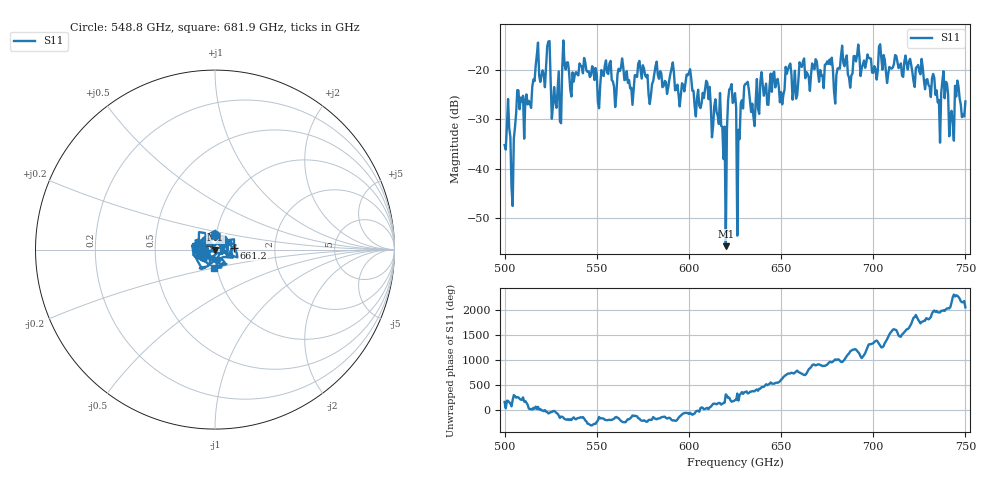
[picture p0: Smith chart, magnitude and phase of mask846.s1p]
!Created with skrf (http://scikit-rf.org).
# GHz S MA R 50.0
!freq magS11 angS11
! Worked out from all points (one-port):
!   401 points, 500 GHz to 750 GHz, reference 50 ohm
!   lowest |S11| = -55.8 dB at 620 GHz (marker M1), VSWR 1.00, Z = 50.1 - j0.115 ohm
!   |S11| at or under -10 dB: start of sweep to end of sweep
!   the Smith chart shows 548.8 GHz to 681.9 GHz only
!   S11 on the Smith chart (normalised r, x): 548.8 GHz: 0.99, +0.16; 661.2 GHz: 1.24, +0.03; 681.9 GHz: 0.97, -0.20
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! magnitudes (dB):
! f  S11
! 500 GHz  -35.2
! 504.4 GHz  -47.6
! 507.5 GHz  -24.1
! 513.8 GHz  -26.8
! 516.9 GHz  -19.0
! 523.8 GHz  -14.1
! 526.9 GHz  -23.4
! 531.2 GHz  -19.7
! 548.8 GHz  -22.0
! 562.5 GHz  -20.2
! 593.8 GHz  -22.9
! 610 GHz  -22.6
! 620 GHz  -55.8
! 622.5 GHz  -23.6
! 625 GHz  -24.7
! 627.5 GHz  -34.0
! 631.2 GHz  -22.7
! 635 GHz  -29.5
! 656.2 GHz  -26.0
! 661.2 GHz  -19.3
! 681.9 GHz  -19.7
! 687.5 GHz  -23.5
! 718.8 GHz  -19.9
! 735 GHz  -26.5
! 738.8 GHz  -25.7
! 742.5 GHz  -28.2
! 745.6 GHz  -22.1
! 750 GHz  -26.3
